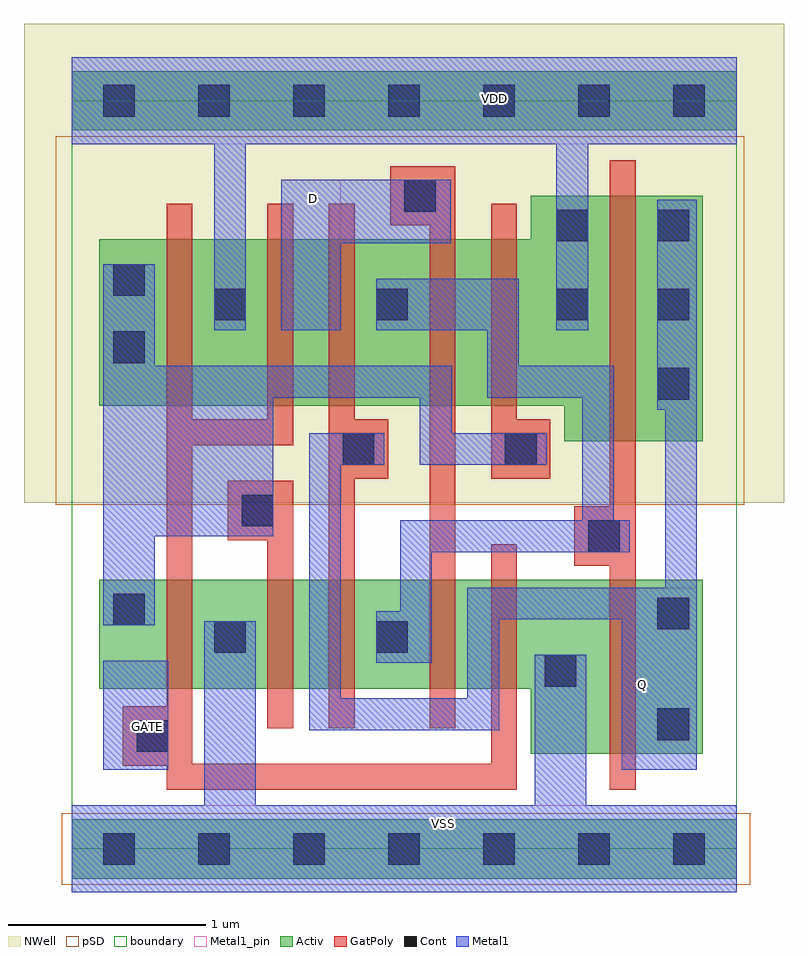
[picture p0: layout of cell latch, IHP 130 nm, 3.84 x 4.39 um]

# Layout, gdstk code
import gdstk
lib = gdstk.Library(unit=1e-6, precision=1e-09)
def R(c, l, rs):  # rectangles x0, y0, x1, y1
    for r in rs: c.add(gdstk.rectangle(r[:2], r[2:], *l))
def A(c, l, x, y, w, h, nx, ny, dx, dy):  # array of equal rectangles
    R(c, l, [(x+i*dx, y+j*dy, x+i*dx+w, y+j*dy+h) for i in range(nx) for j in range(ny)])
def P(c, l, *ps):  # polygons
    for p in ps: c.add(gdstk.Polygon(p, *l))
Activ = (1, 0)
GatPoly = (5, 0)
Cont = (6, 0)
Metal1 = (8, 0)
Metal1_pin = (8, 2)
pSD = (14, 0)
NWell = (31, 0)
boundary = (189, 4)

latch = lib.new_cell('latch')
R(latch, Activ, [(0,-0.15,3.36,0.15), (2.32,0.48,3.19,1.36), (0.14,0.81,3.19,1.36), (0.14,2.24,3.19,3.08), (0,3.63,3.36,3.93)])
P(latch, Activ, [(2.49,2.06),(2.49,2.24),(2.32,2.24),(2.32,3.3),(3.19,3.3),(3.19,2.06)])
R(latch, GatPoly, [(0.48,0.3,0.61,2.17), (0.48,0.3,2.25,0.43), (2.12,0.3,2.25,1.54), (2.72,0.3,2.85,3.48), (0.26,0.42,0.56,0.72), (0.99,0.61,1.12,1.86), (1.3,0.61,1.43,3.26), (1.81,0.61,1.94,1.53), (1.81,1.23,1.94,3.45), (2.54,1.43,2.85,1.73), (0.79,1.56,1.09,1.86), (1.3,1.87,1.6,2.17), (2.12,1.87,2.42,2.17), (0.48,2.04,0.61,3.26), (0.48,2.04,1.12,2.17), (0.99,2.04,1.12,3.26), (2.12,2.06,2.25,3.26), (1.61,3.15,1.91,3.45)])
A(latch, Cont, 0.16, -0.08, 0.16, 0.16, 7, 2, 0.48, 3.78)
A(latch, Cont, 2.96, 2.27, 0.16, 0.16, 1, 3, 0, 0.4)
R(latch, Cont, [(0.33,0.49,0.49,0.65), (2.96,0.55,3.12,0.71), (2.39,0.82,2.55,0.98), (0.72,0.99,0.88,1.15), (1.54,0.99,1.7,1.15), (2.96,1.11,3.12,1.27), (0.21,1.13,0.37,1.29), (2.61,1.5,2.77,1.66), (0.86,1.63,1.02,1.79), (1.37,1.94,1.53,2.1), (2.19,1.94,2.35,2.1), (0.21,2.455,0.37,2.615), (0.72,2.67,0.88,2.83), (1.54,2.67,1.7,2.83), (2.45,2.67,2.61,2.83), (0.21,2.795,0.37,2.955), (2.45,3.07,2.61,3.23), (1.68,3.22,1.84,3.38)])
R(latch, Metal1, [(0.67,-0.22,0.93,1.15), (0.16,0.4,0.49,0.95), (2.78,0.4,3.16,1.32), (3,0.4,3.16,3.28), (1.2,0.6,2.16,0.76), (1.2,0.6,1.36,2.1), (2,0.6,2.16,1.32), (1.54,0.94,1.82,1.2), (1.66,0.94,1.82,1.66), (0.16,1.13,0.42,2.955), (2,1.16,3.16,1.32), (1.66,1.5,2.82,1.66), (2.58,1.5,2.74,2.44), (0.16,1.58,1.02,2.44), (1.76,1.94,2.4,2.1), (1.76,1.94,1.92,2.44), (2.96,2.22,3.16,3.28), (0.16,2.28,1.92,2.44), (2.1,2.28,2.74,2.44), (2.1,2.28,2.26,2.88), (0.72,2.62,0.88,4), (1.06,2.62,1.36,3.38), (1.54,2.62,2.26,2.88), (2.45,2.62,2.61,4), (1.06,3.06,1.915,3.38)])
P(latch, Metal1, [(2.34,-0.22),(2.34,0.98),(2.6,0.98),(2.6,0.71),(2.6,-0.22)],
  [(1.2,1.94),(1.2,2.01),(1.2,2.1),(1.58,2.1),(1.58,1.94)],
  [(0,-0.22),(0,0.22),(1.375,0.22),(1.635,0.22),(2.735,0.22),(2.995,0.22),(3.36,0.22),(3.36,-0.22)],
  [(0,3.56),(0,4),(3.36,4),(3.36,3.56),(2.93,3.56),(2.33,3.56)])
R(latch, Metal1_pin, [(0,-0.22,3.36,0.22), (0.16,0.4,0.49,0.95), (2.78,0.4,3.16,1.32), (1.06,2.62,1.36,3.38), (0,3.56,3.36,4)])
R(latch, pSD, [(-0.05,-0.18,3.43,0.18), (-0.08,1.74,3.4,3.6)])
R(latch, NWell, [(-0.24,1.75,3.6,4.17)])
R(latch, boundary, [(0,0,3.36,3.78)])
latch.add(gdstk.Label('Q', (2.885,0.83), layer=8, texttype=25))
latch.add(gdstk.Label('D', (1.225,3.285), layer=8, texttype=25))
latch.add(gdstk.Label('VSS', (1.88,0.13), layer=8, texttype=25))
latch.add(gdstk.Label('VDD', (2.135,3.79), layer=8, texttype=25))
latch.add(gdstk.Label('GATE', (0.385,0.62), layer=8, texttype=25))

lib.write_gds('latch.gds')
